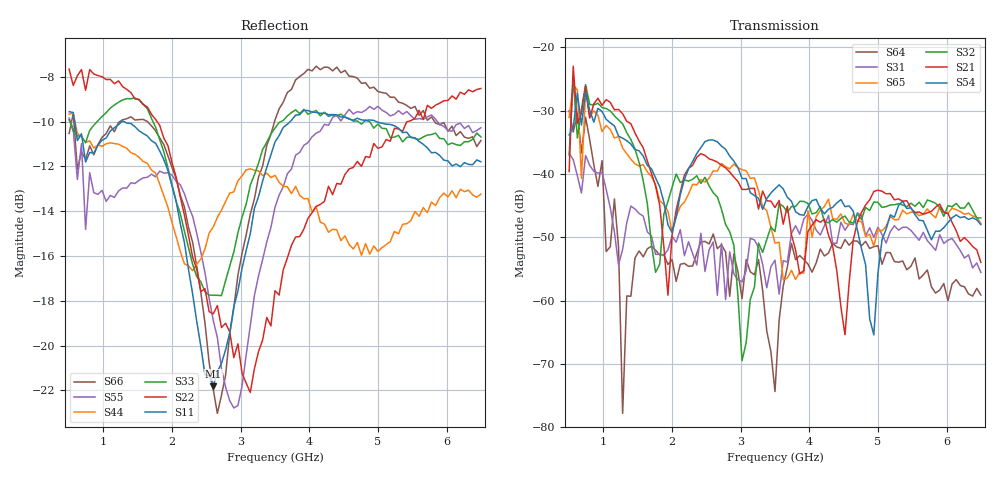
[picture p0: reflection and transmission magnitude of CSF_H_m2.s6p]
!Keysight Technologies,M9804A,MY58100912,A.14.10.03
!Date: Thursday, April 27, 2023 10:28:33
!Correction: S11(C  6-Port  )
!S12(C  6-Port  )
!S13(C  6-Port  )
!S14(C  6-Port  )
!S15(C  6-Port  )
!S16(C  6-Port  )
!S21(C  6-Port  )
!S22(C  6-Port  )
!S23(C  6-Port  )
!S24(C  6-Port  )
!S25(C  6-Port  )
!S26(C  6-Port  )
!S31(C  6-Port  )
!S32(C  6-Port  )
!S33(C  6-Port  )
!S34(C  6-Port  )
!S35(C  6-Port  )
!S36(C  6-Port  )
!S41(C  6-Port  )
!S42(C  6-Port  )
!S43(C  6-Port  )
!S44(C  6-Port  )
!S45(C  6-Port  )
!S46(C  6-Port  )
!S51(C  6-Port  )
!S52(C  6-Port  )
!S53(C  6-Port  )
!S54(C  6-Port  )
!S55(C  6-Port  )
!S56(C  6-Port  )
!S61(C  6-Port  )
!S62(C  6-Port  )
!S63(C  6-Port  )
!S64(C  6-Port  )
!S65(C  6-Port  )
!S66(C  6-Port  )
!S6P File: Measurement: :
# Hz S  RI  R 50
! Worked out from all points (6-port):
!   101 points, 500 MHz to 6.5 GHz, reference 50 ohm
!   strongest paths, dB at 500 MHz, 2 GHz, 3.5 GHz, 5 GHz, 6.5 GHz:
!     S54: -33.8, -49.2, -42.4, -55.7, -48.0
!     S21: -39.6, -49.7, -45.3, -42.6, -54.0
!     S32: -37.1, -42.1, -49.1, -44.5, -46.9
!     S65: -31.1, -49.1, -50.9, -48.8, -47.8
!     S31: -36.7, -49.9, -53.6, -48.4, -55.6
!     S64: -30.0, -53.5, -74.4, -51.4, -59.1
!   lowest |S11| = -21.8 dB at 2.6 GHz (marker M1), VSWR 1.18, Z = 42.7 + j1.93 ohm
!   |S11| at or under -10 dB: 579.6 MHz to 1.268 GHz (687.9 MHz wide, 74.5 % of centre); 1.301 GHz to 3.718 GHz (2.417 GHz wide, 96.3 % of centre); 4.98 GHz to end of sweep
